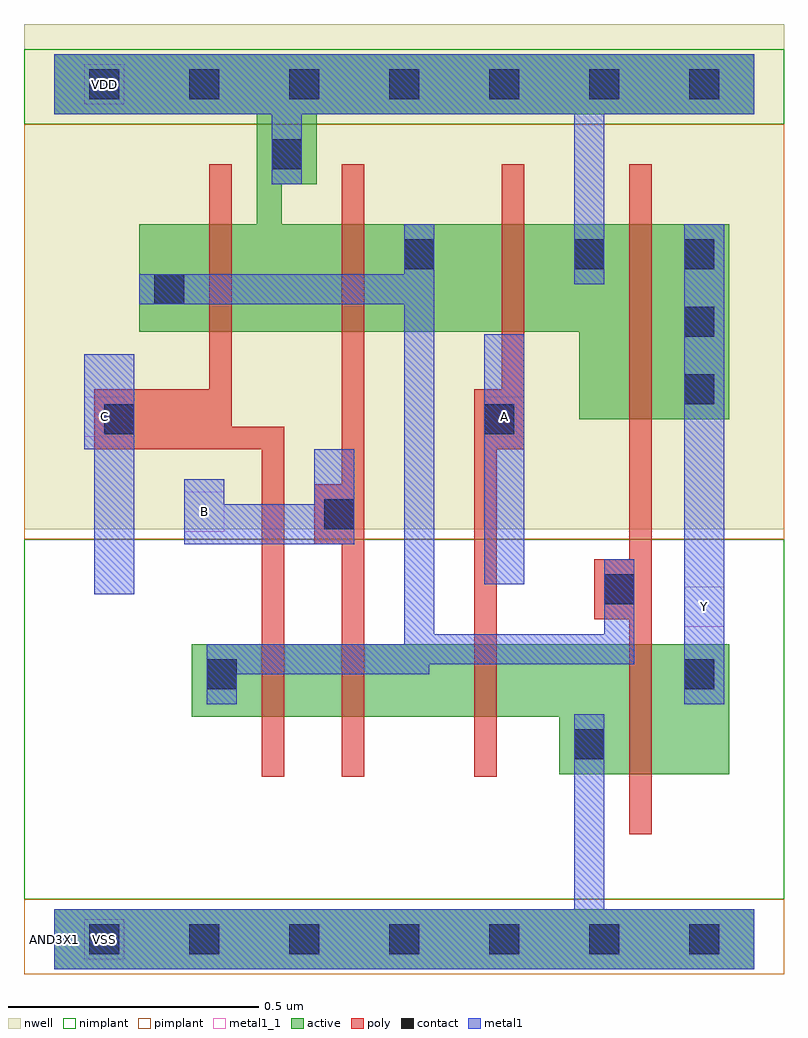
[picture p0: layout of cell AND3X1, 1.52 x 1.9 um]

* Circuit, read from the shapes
.subckt AND3X1 A B C VDD VSS Y
M1 n1 C n2 VSS nfet w=0.145u l=0.045u
M2 n3 B n1 VSS nfet w=0.145u l=0.045u
M3 VSS A n3 VSS nfet w=0.145u l=0.045u
M4 Y n2 VSS VSS nfet w=0.26u l=0.045u
M5 VDD C n2 VDD pfet w=0.215u l=0.045u
M6 n2 B VDD VDD pfet w=0.215u l=0.045u
M7 VDD A n2 VDD pfet w=0.215u l=0.045u
M8 Y n2 VDD VDD pfet w=0.39u l=0.045u
.ends

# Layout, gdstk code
import gdstk
lib = gdstk.Library(unit=1e-6, precision=5e-10)
def R(c, l, rs):  # rectangles x0, y0, x1, y1
    for r in rs: c.add(gdstk.rectangle(r[:2], r[2:], *l))
def A(c, l, x, y, w, h, nx, ny, dx, dy):  # array of equal rectangles
    R(c, l, [(x+i*dx, y+j*dy, x+i*dx+w, y+j*dy+h) for i in range(nx) for j in range(ny)])
def P(c, l, *ps):  # polygons
    for p in ps: c.add(gdstk.Polygon(p, *l))
active = (1, 0)
nwell = (2, 0)
poly = (3, 0)
nimplant = (4, 0)
pimplant = (5, 0)
contact = (6, 0)
metal1 = (7, 0)
metal1_1 = (7, 1)

and3x1 = lib.new_cell('AND3X1')
R(and3x1, active, [(0,-0.06,1.4,0.06)])
P(and3x1, active, [(0,1.77),(1.4,1.77),(1.4,1.65),(0.525,1.65),(0.525,1.51),(0.455,1.51),(0.455,1.43),(1.35,1.43),(1.35,1.04),(1.05,1.04),(1.05,1.215),(0.17,1.215),(0.17,1.43),(0.405,1.43),(0.405,1.65),(0,1.65)],
  [(0.275,0.59),(1.35,0.59),(1.35,0.33),(1.01,0.33),(1.01,0.445),(0.275,0.445)])
R(and3x1, nwell, [(-0.06,0.82,1.46,1.83)])
P(and3x1, poly, [(0.31,1.55),(0.355,1.55),(0.355,1.025),(0.46,1.025),(0.46,0.325),(0.415,0.325),(0.415,0.98),(0.08,0.98),(0.08,1.1),(0.31,1.1)],
  [(0.575,1.55),(0.62,1.55),(0.62,0.325),(0.575,0.325),(0.575,0.79),(0.52,0.79),(0.52,0.91),(0.575,0.91)],
  [(0.895,1.55),(0.94,1.55),(0.94,0.98),(0.885,0.98),(0.885,0.325),(0.84,0.325),(0.84,1.1),(0.895,1.1)],
  [(1.15,1.55),(1.195,1.55),(1.195,0.21),(1.15,0.21),(1.15,0.64),(1.08,0.64),(1.08,0.76),(1.15,0.76)])
R(and3x1, nimplant, [(-0.06,0.08,1.46,0.8), (-0.06,1.63,1.46,1.78)])
R(and3x1, pimplant, [(-0.06,-0.07,1.46,0.08), (-0.06,0.8,1.46,1.63)])
A(and3x1, contact, 0.07, -0.03, 0.06, 0.06, 7, 2, 0.2, 1.71)
A(and3x1, contact, 1.26, 1.07, 0.06, 0.06, 1, 3, 0, 0.135)
R(and3x1, contact, [(1.04,0.36,1.1,0.42), (0.305,0.5,0.365,0.56), (1.26,0.5,1.32,0.56), (1.1,0.67,1.16,0.73), (0.54,0.82,0.6,0.88), (0.1,1.01,0.16,1.07), (0.86,1.01,0.92,1.07), (0.2,1.27,0.26,1.33), (0.7,1.34,0.76,1.4), (1.04,1.34,1.1,1.4), (0.435,1.54,0.495,1.6)])
R(and3x1, metal1, [(1.26,0.47,1.34,1.43), (0.86,0.71,0.94,1.21)])
P(and3x1, metal1, [(0,1.77),(1.4,1.77),(1.4,1.65),(1.1,1.65),(1.1,1.31),(1.04,1.31),(1.04,1.65),(0.495,1.65),(0.495,1.51),(0.435,1.51),(0.435,1.65),(0,1.65)],
  [(0.7,1.43),(0.76,1.43),(0.76,0.61),(1.1,0.61),(1.1,0.76),(1.16,0.76),(1.16,0.55),(0.75,0.55),(0.75,0.53),(0.365,0.53),(0.365,0.47),(0.305,0.47),(0.305,0.59),(0.7,0.59),(0.7,1.27),(0.17,1.27),(0.17,1.33),(0.7,1.33)],
  [(0.06,1.17),(0.16,1.17),(0.16,0.69),(0.08,0.69),(0.08,0.98),(0.06,0.98)],
  [(0.26,0.92),(0.34,0.92),(0.34,0.87),(0.52,0.87),(0.52,0.98),(0.6,0.98),(0.6,0.79),(0.26,0.79)],
  [(1.04,0.45),(1.1,0.45),(1.1,0.06),(1.4,0.06),(1.4,-0.06),(0,-0.06),(0,0.06),(1.04,0.06)])
R(and3x1, metal1_1, [(0.06,-0.04,0.14,0.04), (1.26,0.625,1.34,0.705), (0.26,0.815,0.34,0.895), (0.06,1.005,0.14,1.085), (0.86,1.005,0.94,1.085), (0.06,1.67,0.14,1.75)])
and3x1.add(gdstk.Label('Y', (1.3,0.665), layer=7, texttype=1))
and3x1.add(gdstk.Label('A', (0.9,1.045), layer=7, texttype=1))
and3x1.add(gdstk.Label('B', (0.3,0.855), layer=7, texttype=1))
and3x1.add(gdstk.Label('C', (0.1,1.045), layer=7, texttype=1))
and3x1.add(gdstk.Label('VDD', (0.1,1.71), layer=7, texttype=1))
and3x1.add(gdstk.Label('VSS', (0.1,0), layer=7, texttype=1))
and3x1.add(gdstk.Label('AND3X1', (0,0), layer=63, texttype=0))

lib.write_gds('AND3X1.gds')
